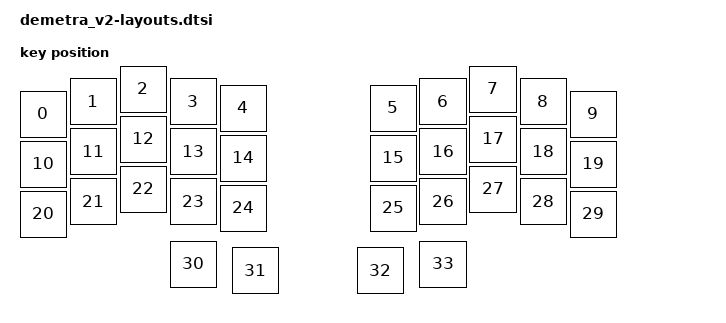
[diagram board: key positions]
/*
 * Copyright (c) 2026 Mattia Buscema
 * SPDX-License-Identifier: MIT
 *
 * Layout fisico Demetra v2 (34 tasti, split 3x5+2).
 * L'ordine dei tasti segue la map del matrix transform:
 * riga per riga left→right, poi i 4 thumb (L poi R).
 */

#include <physical_layouts.dtsi>

/ {
    physical_layout0: physical_layout_0 {
        compatible = "zmk,physical-layout";
        display-name = "Default";

        keys  //                     w   h    x    y     rot    rx    ry
            = <&key_physical_attrs 100 100    0   50       0     0     0>
            , <&key_physical_attrs 100 100  100   25       0     0     0>
            , <&key_physical_attrs 100 100  200    0       0     0     0>
            , <&key_physical_attrs 100 100  300   25       0     0     0>
            , <&key_physical_attrs 100 100  400   38       0     0     0>
            , <&key_physical_attrs 100 100  700   38       0     0     0>
            , <&key_physical_attrs 100 100  800   25       0     0     0>
            , <&key_physical_attrs 100 100  900    0       0     0     0>
            , <&key_physical_attrs 100 100 1000   25       0     0     0>
            , <&key_physical_attrs 100 100 1100   50       0     0     0>
            , <&key_physical_attrs 100 100    0  150       0     0     0>
            , <&key_physical_attrs 100 100  100  125       0     0     0>
            , <&key_physical_attrs 100 100  200  100       0     0     0>
            , <&key_physical_attrs 100 100  300  125       0     0     0>
            , <&key_physical_attrs 100 100  400  138       0     0     0>
            , <&key_physical_attrs 100 100  700  138       0     0     0>
            , <&key_physical_attrs 100 100  800  125       0     0     0>
            , <&key_physical_attrs 100 100  900  100       0     0     0>
            , <&key_physical_attrs 100 100 1000  125       0     0     0>
            , <&key_physical_attrs 100 100 1100  150       0     0     0>
            , <&key_physical_attrs 100 100    0  250       0     0     0>
            , <&key_physical_attrs 100 100  100  225       0     0     0>
            , <&key_physical_attrs 100 100  200  200       0     0     0>
            , <&key_physical_attrs 100 100  300  225       0     0     0>
            , <&key_physical_attrs 100 100  400  238       0     0     0>
            , <&key_physical_attrs 100 100  700  238       0     0     0>
            , <&key_physical_attrs 100 100  800  225       0     0     0>
            , <&key_physical_attrs 100 100  900  200       0     0     0>
            , <&key_physical_attrs 100 100 1000  225       0     0     0>
            , <&key_physical_attrs 100 100 1100  250       0     0     0>
            , <&key_physical_attrs 100 100  300  350       0     0     0>
            , <&key_physical_attrs 100 100  425  363       0     0     0>
            , <&key_physical_attrs 100 100  675  363       0     0     0>
            , <&key_physical_attrs 100 100  800  350       0     0     0>
            ;
    };
};
